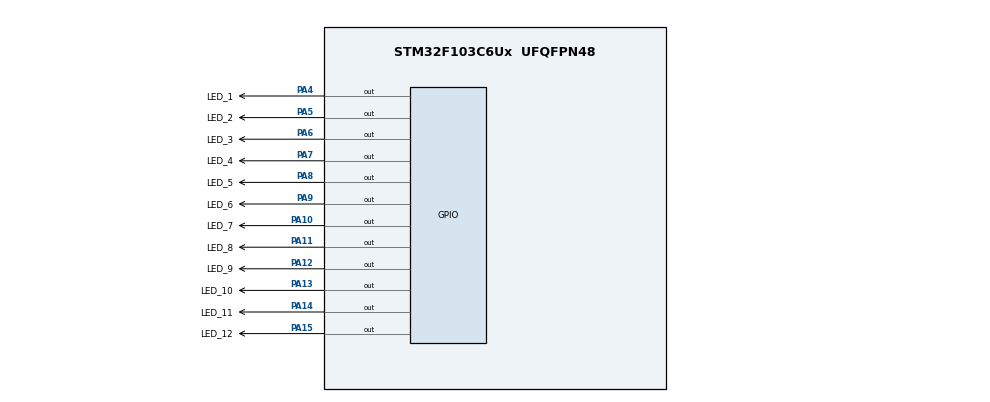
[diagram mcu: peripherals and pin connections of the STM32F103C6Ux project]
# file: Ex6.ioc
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Mcu.Family=STM32F1
Mcu.Name=STM32F103C6Ux
Mcu.Package=UFQFPN48
NVIC.PriorityGroup=NVIC_PRIORITYGROUP_4
PA10.GPIO_Label=LED_7
PA10.Signal=GPIO_Output
PA11.GPIO_Label=LED_8
PA11.Signal=GPIO_Output
PA12.GPIO_Label=LED_9
PA12.Signal=GPIO_Output
PA13.GPIO_Label=LED_10
PA13.Signal=GPIO_Output
PA14.GPIO_Label=LED_11
PA14.Signal=GPIO_Output
PA15.GPIO_Label=LED_12
PA15.Signal=GPIO_Output
PA4.GPIO_Label=LED_1
PA4.Signal=GPIO_Output
PA5.GPIO_Label=LED_2
PA5.Signal=GPIO_Output
PA6.GPIO_Label=LED_3
PA6.Signal=GPIO_Output
PA7.GPIO_Label=LED_4
PA7.Signal=GPIO_Output
PA8.GPIO_Label=LED_5
PA8.Signal=GPIO_Output
PA9.GPIO_Label=LED_6
PA9.Signal=GPIO_Output
ProjectManager.HeapSize=0x200
ProjectManager.StackSize=0x400
ProjectManager.TargetToolchain=STM32CubeIDE
RCC.APB1Freq_Value=8000000
RCC.APB2Freq_Value=8000000
VP_SYS_VS_ND.Mode=No_Debug
board=custom

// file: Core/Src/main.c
/* USER CODE BEGIN Header */
/**
  ******************************************************************************
  * @file           : main.c
  * @brief          : Main program body
  ******************************************************************************
  * @attention
  *
  * <h2><center>&copy; Copyright (c) 2024 STMicroelectronics.
  * All rights reserved.</center></h2>
  *
  * This software component is licensed by ST under BSD 3-Clause license,
  * the "License"; You may not use this file except in compliance with the
  * License. You may obtain a copy of the License at:
  *                        opensource.org/licenses/BSD-3-Clause
  *
  ******************************************************************************
  */
/* USER CODE END Header */
#include "main.h"

void SystemClock_Config(void);
static void MX_GPIO_Init(void);

int main(void)
{

  /* MCU Configuration--------------------------------------------------------*/

  /* Reset of all peripherals, Initializes the Flash interface and the Systick. */
  HAL_Init();

  /* Configure the system clock */
  SystemClock_Config();

  /* Initialize all configured peripherals */
  MX_GPIO_Init();

  /* Infinite loop */
  /* USER CODE BEGIN WHILE */
  int sec = 0;
  int min = 4;
  int hour = 3;
  while (1)
  {
	  HAL_GPIO_WritePin(LED_1_GPIO_Port, LED_1_Pin, GPIO_PIN_RESET);
	  HAL_GPIO_WritePin(LED_2_GPIO_Port, LED_2_Pin, GPIO_PIN_RESET);
	  HAL_GPIO_WritePin(LED_3_GPIO_Port, LED_3_Pin, GPIO_PIN_RESET);
	  HAL_GPIO_WritePin(LED_4_GPIO_Port, LED_4_Pin, GPIO_PIN_RESET);
	  HAL_GPIO_WritePin(LED_5_GPIO_Port, LED_5_Pin, GPIO_PIN_RESET);
	  HAL_GPIO_WritePin(LED_6_GPIO_Port, LED_6_Pin, GPIO_PIN_RESET);
	  HAL_GPIO_WritePin(LED_7_GPIO_Port, LED_7_Pin, GPIO_PIN_RESET);
	  HAL_GPIO_WritePin(LED_8_GPIO_Port, LED_8_Pin, GPIO_PIN_RESET);
	  HAL_GPIO_WritePin(LED_9_GPIO_Port, LED_9_Pin, GPIO_PIN_RESET);
	  HAL_GPIO_WritePin(LED_10_GPIO_Port, LED_10_Pin, GPIO_PIN_RESET);
	  HAL_GPIO_WritePin(LED_11_GPIO_Port, LED_11_Pin, GPIO_PIN_RESET);
	  HAL_GPIO_WritePin(LED_12_GPIO_Port, LED_12_Pin, GPIO_PIN_RESET);
	  sec++;

	  if (sec >= 0 && sec <= 5)
	  {
		  HAL_GPIO_WritePin(LED_12_GPIO_Port, LED_12_Pin, GPIO_PIN_SET);
	  }
	  else if (sec > 5 && sec <= 10)
	  {
		  HAL_GPIO_WritePin(LED_1_GPIO_Port, LED_1_Pin, GPIO_PIN_SET);
	  }
	  else if (sec > 10 && sec <= 15)
	  {
		  HAL_GPIO_WritePin(LED_2_GPIO_Port, LED_2_Pin, GPIO_PIN_SET);
	  }
	  else if (sec > 15 && sec <= 20)
	  {
		  HAL_GPIO_WritePin(LED_3_GPIO_Port, LED_3_Pin, GPIO_PIN_SET);
	  }
	  else if (sec > 20 && sec <= 25)
	  {
		  HAL_GPIO_WritePin(LED_4_GPIO_Port, LED_4_Pin, GPIO_PIN_SET);
	  }
	  else if (sec > 25 && sec <= 30)
	  {
		  HAL_GPIO_WritePin(LED_5_GPIO_Port, LED_5_Pin, GPIO_PIN_SET);
	  }
	  else if (sec > 30 && sec <= 35)
	  {
		  HAL_GPIO_WritePin(LED_6_GPIO_Port, LED_6_Pin, GPIO_PIN_SET);
	  }
	  else if (sec > 35 && sec <= 40)
	  {
		  HAL_GPIO_WritePin(LED_7_GPIO_Port, LED_7_Pin, GPIO_PIN_SET);
	  }
	  else if (sec > 40 && sec <= 45)
	  {
		  HAL_GPIO_WritePin(LED_8_GPIO_Port, LED_8_Pin, GPIO_PIN_SET);
	  }
	  else if (sec > 45 && sec <= 50)
	  {
		  HAL_GPIO_WritePin(LED_9_GPIO_Port, LED_9_Pin, GPIO_PIN_SET);
	  }
	  else if (sec > 50 && sec <= 55)
	  {
		  HAL_GPIO_WritePin(LED_10_GPIO_Port, LED_10_Pin, GPIO_PIN_SET);
	  }
	  else if (sec > 55 && sec <= 60)
	  {
		  HAL_GPIO_WritePin(LED_11_GPIO_Port, LED_11_Pin, GPIO_PIN_SET);
	  }

	  if (min >= 0 && min < 5)
	  {
		  HAL_GPIO_WritePin(LED_12_GPIO_Port, LED_12_Pin, GPIO_PIN_SET);
	  }
	  else if (min >= 5 && min < 10)
	  {
		  HAL_GPIO_WritePin(LED_1_GPIO_Port, LED_1_Pin, GPIO_PIN_SET);
	  }
	  else if (min >= 10 && min < 15)
	  {
		  HAL_GPIO_WritePin(LED_2_GPIO_Port, LED_2_Pin, GPIO_PIN_SET);
	  }
	  else if (min >= 15 && min < 20)
	  {
		  HAL_GPIO_WritePin(LED_3_GPIO_Port, LED_3_Pin, GPIO_PIN_SET);
	  }
	  else if (min >= 20 && min < 25)
	  {
		  HAL_GPIO_WritePin(LED_4_GPIO_Port, LED_4_Pin, GPIO_PIN_SET);
	  }
	  else if (min >= 25 && min < 30)
	  {
		  HAL_GPIO_WritePin(LED_5_GPIO_Port, LED_5_Pin, GPIO_PIN_SET);
	  }
	  else if (min >= 30 && min < 35)
	  {
		  HAL_GPIO_WritePin(LED_6_GPIO_Port, LED_6_Pin, GPIO_PIN_SET);
	  }
	  else if (min >= 35 && min < 40)
	  {
		  HAL_GPIO_WritePin(LED_7_GPIO_Port, LED_7_Pin, GPIO_PIN_SET);
	  }
	  else if (min >= 40 && min < 45)
	  {
		  HAL_GPIO_WritePin(LED_8_GPIO_Port, LED_8_Pin, GPIO_PIN_SET);
	  }
	  else if (min >= 45 && min < 50)
	  {
		  HAL_GPIO_WritePin(LED_9_GPIO_Port, LED_9_Pin, GPIO_PIN_SET);
	  }
	  else if (min >= 50 && min < 55)
	  {
		  HAL_GPIO_WritePin(LED_10_GPIO_Port, LED_10_Pin, GPIO_PIN_SET);
	  }
	  else if (min >= 55 && min < 60)
	  {
		  HAL_GPIO_WritePin(LED_11_GPIO_Port, LED_11_Pin, GPIO_PIN_SET);
	  }

	  if (hour == 1)
	  {
		  HAL_GPIO_WritePin(LED_1_GPIO_Port, LED_1_Pin, GPIO_PIN_SET);
	  }
	  else if (hour == 2)
	  {
		  HAL_GPIO_WritePin(LED_2_GPIO_Port, LED_2_Pin, GPIO_PIN_SET);
	  }
	  else if (hour == 3)
	  {
		  HAL_GPIO_WritePin(LED_1_GPIO_Port, LED_3_Pin, GPIO_PIN_SET);
	  }
	  else if (hour == 4)
	  {
		  HAL_GPIO_WritePin(LED_4_GPIO_Port, LED_4_Pin, GPIO_PIN_SET);
	  }
	  else if (hour == 5)
	  {
		  HAL_GPIO_WritePin(LED_5_GPIO_Port, LED_5_Pin, GPIO_PIN_SET);
	  }
	  else if (hour == 6)
	  {
		  HAL_GPIO_WritePin(LED_6_GPIO_Port, LED_6_Pin, GPIO_PIN_SET);
	  }
	  else if (hour == 7)
	  {
		  HAL_GPIO_WritePin(LED_7_GPIO_Port, LED_7_Pin, GPIO_PIN_SET);
	  }
	  else if (hour == 8)
	  {
		  HAL_GPIO_WritePin(LED_8_GPIO_Port, LED_8_Pin, GPIO_PIN_SET);
	  }
	  else if (hour == 9)
	  {
		  HAL_GPIO_WritePin(LED_9_GPIO_Port, LED_9_Pin, GPIO_PIN_SET);
	  }
	  else if (hour == 10)
	  {
		  HAL_GPIO_WritePin(LED_10_GPIO_Port, LED_10_Pin, GPIO_PIN_SET);
	  }
	  else if (hour == 11)
	  {
		  HAL_GPIO_WritePin(LED_11_GPIO_Port, LED_11_Pin, GPIO_PIN_SET);
	  }
	  else if (hour == 12)
	  {
		  HAL_GPIO_WritePin(LED_12_GPIO_Port, LED_12_Pin, GPIO_PIN_SET);
	  }

	  if (sec >= 60)
	  {
		  sec = 0;
		  min++;
	  }
	  if (min >= 60)
	  {
		  min = 0;
		  hour++;
	  }
	  if (hour >= 12)
	  {
		  hour = 0;
	  }

	  HAL_Delay(1000);
    /* USER CODE END WHILE */

  }
}

void SystemClock_Config(void)
{
  RCC_OscInitTypeDef RCC_OscInitStruct = {0};
  RCC_ClkInitTypeDef RCC_ClkInitStruct = {0};

  /** Initializes the RCC Oscillators according to the specified parameters
  * in the RCC_OscInitTypeDef structure.
  */
  RCC_OscInitStruct.OscillatorType = RCC_OSCILLATORTYPE_HSI;
  RCC_OscInitStruct.HSIState = RCC_HSI_ON;
  RCC_OscInitStruct.HSICalibrationValue = RCC_HSICALIBRATION_DEFAULT;
  RCC_OscInitStruct.PLL.PLLState = RCC_PLL_NONE;
  if (HAL_RCC_OscConfig(&RCC_OscInitStruct) != HAL_OK)
  {
    Error_Handler();
  }
  /** Initializes the CPU, AHB and APB buses clocks
  */
  RCC_ClkInitStruct.ClockType = RCC_CLOCKTYPE_HCLK|RCC_CLOCKTYPE_SYSCLK
                              |RCC_CLOCKTYPE_PCLK1|RCC_CLOCKTYPE_PCLK2;
  RCC_ClkInitStruct.SYSCLKSource = RCC_SYSCLKSOURCE_HSI;
  RCC_ClkInitStruct.AHBCLKDivider = RCC_SYSCLK_DIV1;
  RCC_ClkInitStruct.APB1CLKDivider = RCC_HCLK_DIV1;
  RCC_ClkInitStruct.APB2CLKDivider = RCC_HCLK_DIV1;

  if (HAL_RCC_ClockConfig(&RCC_ClkInitStruct, FLASH_LATENCY_0) != HAL_OK)
  {
    Error_Handler();
  }
}

static void MX_GPIO_Init(void)
{
  GPIO_InitTypeDef GPIO_InitStruct = {0};

  /* GPIO Ports Clock Enable */
  __HAL_RCC_GPIOA_CLK_ENABLE();

  /*Configure GPIO pin Output Level */
  HAL_GPIO_WritePin(GPIOA, LED_1_Pin|LED_2_Pin|LED_3_Pin|LED_4_Pin
                          |LED_5_Pin|LED_6_Pin|LED_7_Pin|LED_8_Pin
                          |LED_9_Pin|LED_10_Pin|LED_11_Pin|LED_12_Pin, GPIO_PIN_RESET);

  /*Configure GPIO pins : LED_1_Pin LED_2_Pin LED_3_Pin LED_4_Pin
                           LED_5_Pin LED_6_Pin LED_7_Pin LED_8_Pin
                           LED_9_Pin LED_10_Pin LED_11_Pin LED_12_Pin */
  GPIO_InitStruct.Pin = LED_1_Pin|LED_2_Pin|LED_3_Pin|LED_4_Pin
                          |LED_5_Pin|LED_6_Pin|LED_7_Pin|LED_8_Pin
                          |LED_9_Pin|LED_10_Pin|LED_11_Pin|LED_12_Pin;
  GPIO_InitStruct.Mode = GPIO_MODE_OUTPUT_PP;
  GPIO_InitStruct.Pull = GPIO_NOPULL;
  GPIO_InitStruct.Speed = GPIO_SPEED_FREQ_LOW;
  HAL_GPIO_Init(GPIOA, &GPIO_InitStruct);

}

void Error_Handler(void)
{
  __disable_irq();
  while (1)
  {
  }
}

/************************ (C) COPYRIGHT STMicroelectronics *****END OF FILE****/
